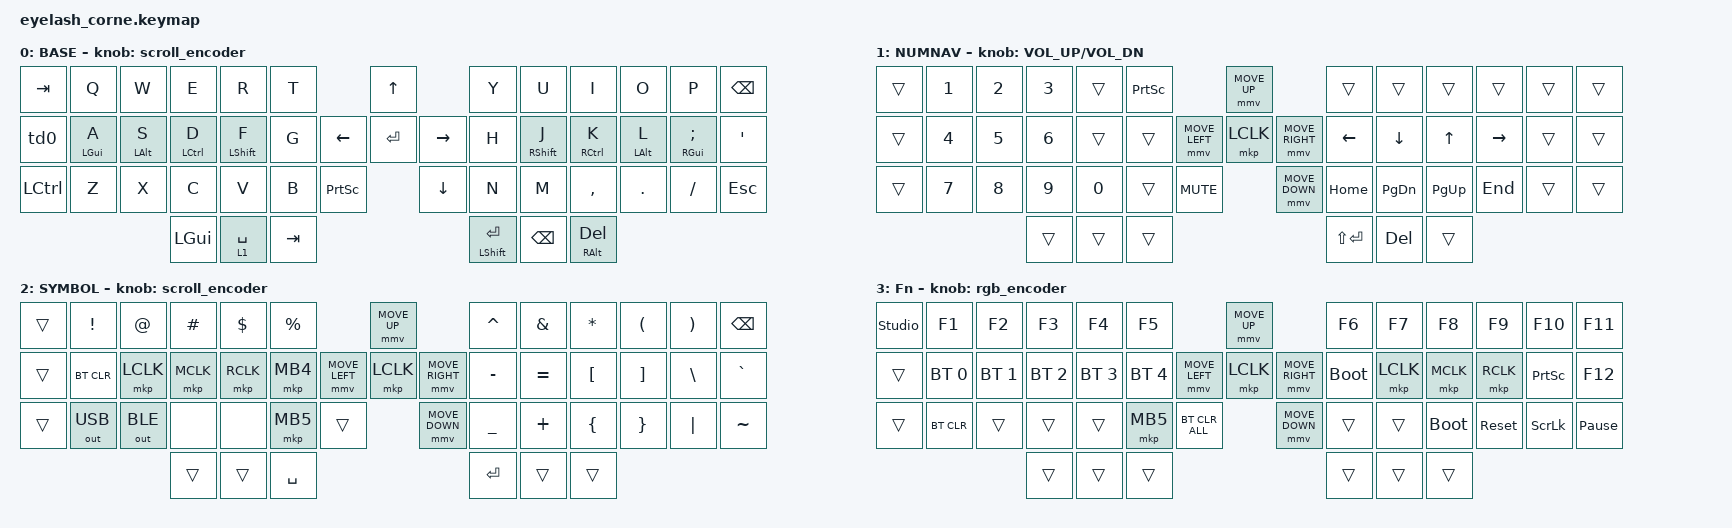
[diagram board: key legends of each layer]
#define ZMK_POINTING_DEFAULT_MOVE_VAL 1200  // 600
#define ZMK_POINTING_DEFAULT_SCRL_VAL 25   // 10

#include <input/processors.dtsi>
#include <zephyr/dt-bindings/input/input-event-codes.h>
#include <behaviors.dtsi>
#include <dt-bindings/zmk/bt.h>
#include <dt-bindings/zmk/keys.h>
#include <dt-bindings/zmk/outputs.h>
#include <dt-bindings/zmk/pointing.h>
#include <dt-bindings/zmk/rgb.h>

&mmv_input_listener { input-processors = <&zip_xy_scaler 2 1>; };

&msc_input_listener { input-processors = <&zip_scroll_scaler 2 1>; };

&msc {
    acceleration-exponent = <1>;      // 0
    time-to-max-speed-ms = <100>;       // 300
    delay-ms = <0>;                   // 0
};

&mmv {
    time-to-max-speed-ms = <500>;
    acceleration-exponent = <1>;
    trigger-period-ms = <16>;
};

&soft_off { hold-time-ms = <2000>; };

&mt { flavor = "tap-preferred"; };

/ {
    behaviors {
        td0: td0 {
            compatible = "zmk,behavior-tap-dance";
            display-name = "Shift/Caps Lock Tap Dance";
            #binding-cells = <0>;
            bindings = <&kp LEFT_SHIFT>, <&kp CAPS>;
        };
    };

    rgb_encoder: rgb_encoder {
        compatible = "zmk,behavior-sensor-rotate";
        #sensor-binding-cells = <0>;
        bindings = <&rgb_ug RGB_BRI>, <&rgb_ug RGB_BRD>;
    };

    scroll_encoder: scroll_encoder {
        compatible = "zmk,behavior-sensor-rotate";
        #sensor-binding-cells = <0>;
        bindings = <&msc SCRL_DOWN>, <&msc SCRL_UP>;

        tap-ms = <100>;
    };

    combos {
        compatible = "zmk,combos";

        home_ESC {
            bindings = <&kp ESCAPE>;
            key-positions = <23 24>;
        };

        delete {
            bindings = <&kp DELETE>;
            key-positions = <11 12>;
        };

        Config {
            bindings = <&tog 3>;
            key-positions = <44 45>;
        };
    };

    keymap {
        compatible = "zmk,keymap";

        default_layer {
            display-name = "BASE";
            bindings = <
&kp TAB    &kp Q           &kp W           &kp E        &kp R             &kp T                                 &kp UP                &kp Y                 &kp U              &kp I            &kp O           &kp P               &kp BSPC
&td0       &mt LEFT_GUI A  &mt LEFT_ALT S  &mt LCTRL D  &mt LEFT_SHIFT F  &kp G                       &kp LEFT  &kp ENTER  &kp RIGHT  &kp H                 &mt RIGHT_SHIFT J  &mt RCTRL K      &mt LEFT_ALT L  &mt RIGHT_GUI SEMI  &kp SQT
&kp LCTRL  &kp Z           &kp X           &kp C        &kp V             &kp B    &kp PRINTSCREEN              &kp DOWN              &kp N                 &kp M              &kp COMMA        &kp DOT         &kp FSLH            &kp ESC
                                           &kp LGUI     &lt 1 SPACE       &kp TAB                                                     &mt LEFT_SHIFT ENTER  &kp BACKSPACE      &mt RALT DELETE
            >;

            sensor-bindings = <&scroll_encoder>;
        };

        lower_layer {
            display-name = "NUMNAV";
            bindings = <
&trans  &kp N1        &kp N2        &kp N3        &trans        &kp PRINTSCREEN                                &mmv MOVE_UP                     &trans         &trans     &trans       &trans     &trans  &trans
&trans  &kp NUMBER_4  &kp NUMBER_5  &kp NUMBER_6  &trans        &trans                         &mmv MOVE_LEFT  &mkp LCLK       &mmv MOVE_RIGHT  &kp LEFT       &kp DOWN   &kp UP       &kp RIGHT  &trans  &trans
&trans  &kp NUMBER_7  &kp N8        &kp N9        &kp NUMBER_0  &trans           &kp C_MUTE                    &mmv MOVE_DOWN                   &kp HOME       &kp PG_DN  &kp PAGE_UP  &kp END    &trans  &trans
                                    &trans        &trans        &trans                                                                          &kp LS(ENTER)  &kp DEL    &trans
            >;

            sensor-bindings = <&inc_dec_kp C_VOLUME_UP C_VOL_DN>;
        };

        raise_layer {
            display-name = "SYMBOL";
            bindings = <
&trans  &kp EXCL      &kp AT        &kp HASH   &kp DLLR   &kp PRCNT                            &mmv MOVE_UP                     &kp CARET  &kp AMPS   &kp ASTRK  &kp LPAR  &kp RPAR  &kp BSPC
&trans  &bt BT_CLR    &mkp LCLK     &mkp MCLK  &mkp RCLK  &mkp MB4             &mmv MOVE_LEFT  &mkp LCLK       &mmv MOVE_RIGHT  &kp MINUS  &kp EQUAL  &kp LBKT   &kp RBKT  &kp BSLH  &kp GRAVE
&trans  &out OUT_USB  &out OUT_BLE  &none      &none      &mkp MB5   &trans                    &mmv MOVE_DOWN                   &kp UNDER  &kp PLUS   &kp LBRC   &kp RBRC  &kp PIPE  &kp TILDE
                                    &trans     &trans     &kp SPACE                                                             &kp RET    &trans     &trans
            >;

            sensor-bindings = <&scroll_encoder>;
        };

        layer_3 {
            display-name = "Fn";
            bindings = <
&studio_unlock  &kp F1        &kp F2        &kp F3        &kp F4        &kp F5                                          &mmv MOVE_UP                     &kp F6       &kp F7     &kp F8       &kp F9      &kp F10          &kp F11
&trans          &bt BT_SEL 0  &bt BT_SEL 1  &bt BT_SEL 2  &bt BT_SEL 3  &bt BT_SEL 4                    &mmv MOVE_LEFT  &mkp LCLK       &mmv MOVE_RIGHT  &bootloader  &mkp LCLK  &mkp MCLK    &mkp RCLK   &kp PRINTSCREEN  &kp F12
&trans          &bt BT_CLR    &trans        &trans        &trans        &mkp MB5      &bt BT_CLR_ALL                    &mmv MOVE_DOWN                   &trans       &trans     &bootloader  &sys_reset  &kp SCROLLLOCK   &kp PAUSE_BREAK
                                            &trans        &trans        &trans                                                                           &trans       &trans     &trans
            >;

            sensor-bindings = <&rgb_encoder>;
        };
    };
};
